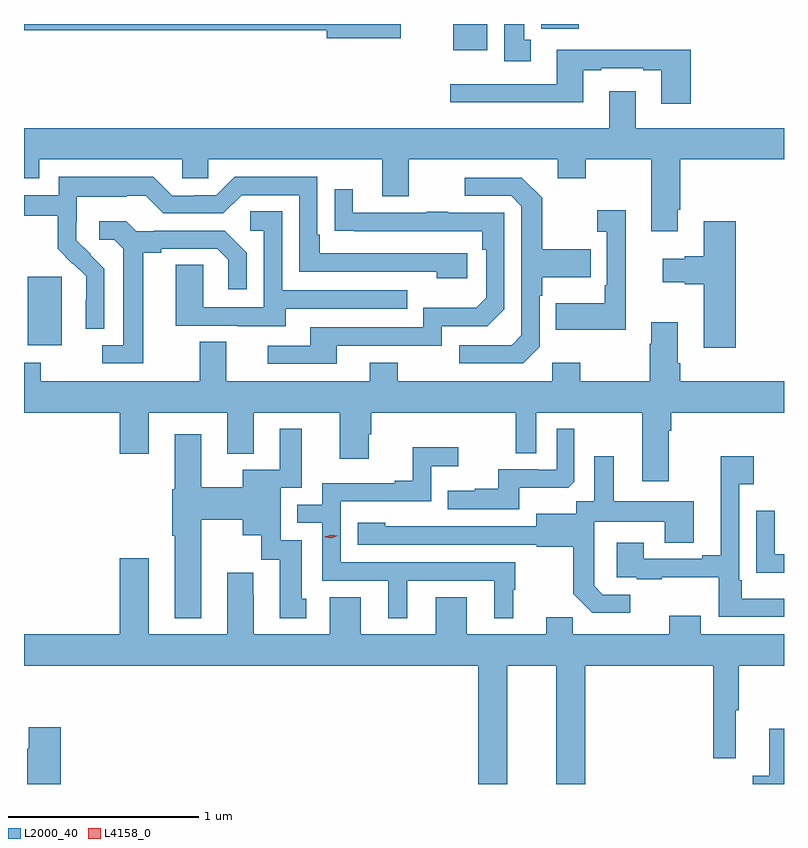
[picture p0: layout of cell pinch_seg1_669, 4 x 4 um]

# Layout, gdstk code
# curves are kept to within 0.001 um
import gdstk
lib = gdstk.Library(unit=1e-6, precision=1e-09)
def R(c, l, rs):  # rectangles x0, y0, x1, y1
    for r in rs: c.add(gdstk.rectangle(r[:2], r[2:], *l))
def P(c, l, *ps):  # polygons
    for p in ps: c.add(gdstk.Polygon(p, *l))
L2000_40 = (2000, 40)
L4158_0 = (4158, 0)

pinch_seg1_669 = lib.new_cell('pinch_seg1_669')
R(pinch_seg1_669, L2000_40, [(746.963,564.074,747.142,564.435), (749.204,565.628,749.383,565.765), (749.667,565.74,749.863,565.765)])
P(pinch_seg1_669, L2000_40, [(749.611,565.681),(749.578,565.681),(749.578,565.765),(749.471,565.765),(749.471,565.569),(749.611,565.569)],
  [(748.927,565.765),(746.944,565.765),(746.944,565.732),(748.538,565.732),(748.538,565.69),(748.927,565.69)],
  [(750.452,565.63),(749.747,565.63),(749.747,565.449),(749.187,565.449),(749.187,565.352),(749.887,565.352),(749.887,565.521),(749.983,565.521),(749.983,565.533),(750.203,565.533),(750.203,565.521),(750.299,565.521),(750.299,565.344),(750.452,565.344)],
  [(750.385,564.787),(750.398,564.787),(750.398,565.052),(750.944,565.052),(750.944,565.216),(750.163,565.216),(750.163,565.411),(750.023,565.411),(750.023,565.216),(746.944,565.216),(746.944,564.953),(747.025,564.953),(747.025,565.052),(747.777,565.052),(747.777,564.954),(747.915,564.954),(747.915,565.052),(748.829,565.052),(748.829,564.858),(748.969,564.858),(748.969,565.052),(749.753,565.052),(749.753,564.953),(749.901,564.953),(749.901,565.052),(750.245,565.052),(750.245,564.675),(750.385,564.675)],
  [(747.366,564.478),(747.22,564.626),(747.22,564.723),(747.222,564.723),(747.222,564.857),(747.485,564.857),(747.485,564.861),(747.585,564.861),(747.678,564.768),(747.993,564.768),(748.089,564.864),(748.392,564.864),(748.392,564.462),(749.117,564.462),(749.117,564.428),(749.278,564.428),(749.278,564.558),(748.501,564.558),(748.501,564.655),(748.488,564.655),(748.488,564.96),(748.053,564.96),(747.957,564.864),(747.839,564.864),(747.839,564.861),(747.723,564.861),(747.623,564.961),(747.126,564.961),(747.126,564.864),(746.944,564.864),(746.944,564.756),(747.121,564.756),(747.121,564.581),(747.198,564.504),(747.201,564.507),(747.272,564.437),(747.272,564.314),(747.27,564.314),(747.27,564.16),(747.366,564.16)],
  [(749.658,564.066),(749.658,564.335),(749.671,564.335),(749.671,564.431),(749.927,564.431),(749.927,564.579),(749.671,564.579),(749.671,564.851),(749.565,564.957),(749.265,564.957),(749.265,564.861),(749.508,564.861),(749.562,564.807),(749.562,564.126),(749.511,564.075),(749.235,564.075),(749.235,563.979),(749.571,563.979)],
  [(748.591,564.072),(749.142,564.072),(749.142,564.174),(749.382,564.174),(749.472,564.264),(749.472,564.771),(749.177,564.771),(749.177,564.776),(749.065,564.776),(749.065,564.771),(748.675,564.771),(748.675,564.895),(748.579,564.895),(748.579,564.676),(749.356,564.675),(749.356,564.578),(749.376,564.578),(749.376,564.324),(749.323,564.271),(749.046,564.271),(749.046,564.168),(748.451,564.168),(748.451,564.072),(748.227,564.072),(748.227,563.976),(748.591,563.976)],
  [(750.11,564.784),(749.961,564.784),(749.961,564.671),(750.012,564.671),(750.012,564.391),(750,564.391),(750,564.295),(749.743,564.295),(749.743,564.155),(750.11,564.155)],
  [(748.321,564.267),(748.961,564.267),(748.961,564.363),(748.302,564.363),(748.302,564.779),(748.134,564.779),(748.134,564.678),(748.206,564.678),(748.206,564.273),(747.888,564.273),(747.888,564.497),(747.743,564.497),(747.743,564.177),(748.067,564.177),(748.067,564.173),(748.321,564.173)],
  [(747.571,564.56),(747.667,564.56),(747.667,564.582),(747.962,564.582),(748.019,564.525),(748.019,564.369),(748.116,564.369),(748.116,564.562),(748,564.678),(747.628,564.678),(747.628,564.675),(747.534,564.675),(747.482,564.727),(747.339,564.727),(747.339,564.63),(747.42,564.63),(747.467,564.583),(747.467,564.075),(747.357,564.075),(747.357,563.979),(747.571,563.979)],
  [(750.689,564.727),(750.521,564.727),(750.521,564.542),(750.422,564.542),(750.422,564.529),(750.306,564.529),(750.306,564.407),(750.422,564.407),(750.422,564.395),(750.521,564.395),(750.521,564.06),(750.689,564.06)],
  [(750.337,563.624),(750.35,563.624),(750.35,563.72),(750.944,563.72),(750.944,563.884),(750.398,563.884),(750.398,563.98),(750.385,563.98),(750.385,564.196),(750.245,564.196),(750.245,564.083),(750.238,564.083),(750.238,563.884),(749.871,563.884),(749.871,563.983),(749.724,563.983),(749.724,563.884),(748.911,563.884),(748.911,563.983),(748.763,563.983),(748.763,563.884),(748.009,563.884),(748.009,564.092),(747.869,564.092),(747.869,563.884),(747.033,563.884),(747.033,563.983),(746.944,563.983),(746.944,563.72),(747.449,563.72),(747.449,563.502),(747.601,563.502),(747.601,563.72),(748.013,563.72),(748.013,563.504),(748.153,563.504),(748.153,563.72),(748.607,563.72),(748.607,563.478),(748.759,563.478),(748.759,563.607),(748.772,563.607),(748.772,563.72),(749.532,563.72),(749.532,563.506),(749.64,563.506),(749.64,563.72),(750.197,563.72),(750.197,563.358),(750.337,563.358)],
  [(747.877,563.156),(748.094,563.156),(748.094,563.075),(748.193,563.075),(748.193,562.944),(748.289,562.944),(748.289,562.638),(748.429,562.638),(748.429,562.74),(748.405,562.74),(748.405,563.049),(748.296,563.049),(748.296,563.325),(748.405,563.325),(748.405,563.635),(748.289,563.635),(748.289,563.419),(748.094,563.419),(748.094,563.328),(747.877,563.328),(747.877,563.605),(747.737,563.605),(747.737,563.316),(747.725,563.316),(747.725,563.072),(747.737,563.072),(747.737,562.637),(747.877,562.637)],
  [(749.551,563.324),(749.809,563.324),(749.841,563.355),(749.841,563.635),(749.748,563.635),(749.748,563.418),(749.648,563.418),(749.648,563.421),(749.441,563.421),(749.441,563.32),(749.317,563.32),(749.317,563.308),(749.173,563.308),(749.173,563.211),(749.551,563.211)],
  [(748.96,562.836),(749.42,562.836),(749.42,562.637),(749.518,562.637),(749.518,562.788),(749.53,562.788),(749.53,562.932),(748.611,562.932),(748.611,563.253),(749.088,563.253),(749.088,563.438),(749.23,563.438),(749.23,563.537),(748.99,563.537),(748.99,563.362),(748.895,563.362),(748.895,563.349),(748.515,563.349),(748.515,563.235),(748.382,563.235),(748.382,563.139),(748.515,563.139),(748.515,562.836),(748.862,562.836),(748.862,562.637),(748.96,562.637)],
  [(750.944,562.741),(750.721,562.741),(750.721,562.837),(750.708,562.837),(750.708,563.342),(750.784,563.342),(750.784,563.491),(750.611,563.491),(750.611,562.969),(750.515,562.969),(750.515,562.95),(750.205,562.95),(750.205,563.035),(750.065,563.035),(750.065,562.854),(750.169,562.854),(750.169,562.842),(750.301,562.842),(750.301,562.853),(750.6,562.853),(750.6,562.644),(750.944,562.644)],
  [(750.136,562.761),(749.991,562.761),(749.944,562.808),(749.944,562.903),(749.946,562.903),(749.946,563.144),(750.317,563.144),(750.317,563.035),(750.469,563.035),(750.469,563.254),(750.049,563.254),(750.049,563.491),(749.945,563.491),(749.945,563.252),(749.85,563.252),(749.85,563.188),(749.639,563.188),(749.639,563.121),(748.845,563.122),(748.845,563.14),(748.701,563.14),(748.701,563.025),(749.643,563.025),(749.643,563.013),(749.835,563.013),(749.835,562.767),(749.935,562.667),(750.136,562.667)],
  [(750.944,562.974),(750.894,562.974),(750.894,563.203),(750.798,563.203),(750.798,562.877),(750.944,562.877)],
  [(747.449,562.954),(747.449,562.552),(746.944,562.552),(746.944,562.388),(749.336,562.388),(749.336,561.765),(749.488,561.765),(749.488,562.388),(749.744,562.388),(749.744,561.765),(749.897,561.765),(749.897,562.388),(750.571,562.388),(750.571,561.9),(750.689,561.9),(750.689,562.152),(750.707,562.152),(750.707,562.388),(750.944,562.388),(750.944,562.552),(750.505,562.552),(750.505,562.651),(750.341,562.651),(750.341,562.552),(749.831,562.552),(749.831,562.643),(749.693,562.643),(749.693,562.552),(749.275,562.552),(749.275,562.747),(749.111,562.747),(749.111,562.552),(748.717,562.552),(748.717,562.747),(748.553,562.747),(748.553,562.552),(748.153,562.552),(748.153,562.763),(748.15,562.763),(748.15,562.876),(748.013,562.876),(748.013,562.552),(747.601,562.552),(747.601,562.954)],
  [(747.137,562.063),(746.969,562.063),(746.969,561.95),(746.962,561.95),(746.962,561.765),(747.137,561.765)],
  [(750.944,562.057),(750.866,562.057),(750.866,561.809),(750.78,561.809),(750.78,561.765),(750.944,561.765)])
P(pinch_seg1_669, L4158_0, [(748.562,563.058),(748.527,563.065),(748.526,563.065),(748.527,563.066),(748.56,563.078),(748.595,563.071),(748.595,563.071),(748.595,563.071)])

lib.write_gds('pinch_seg1_669.gds')
